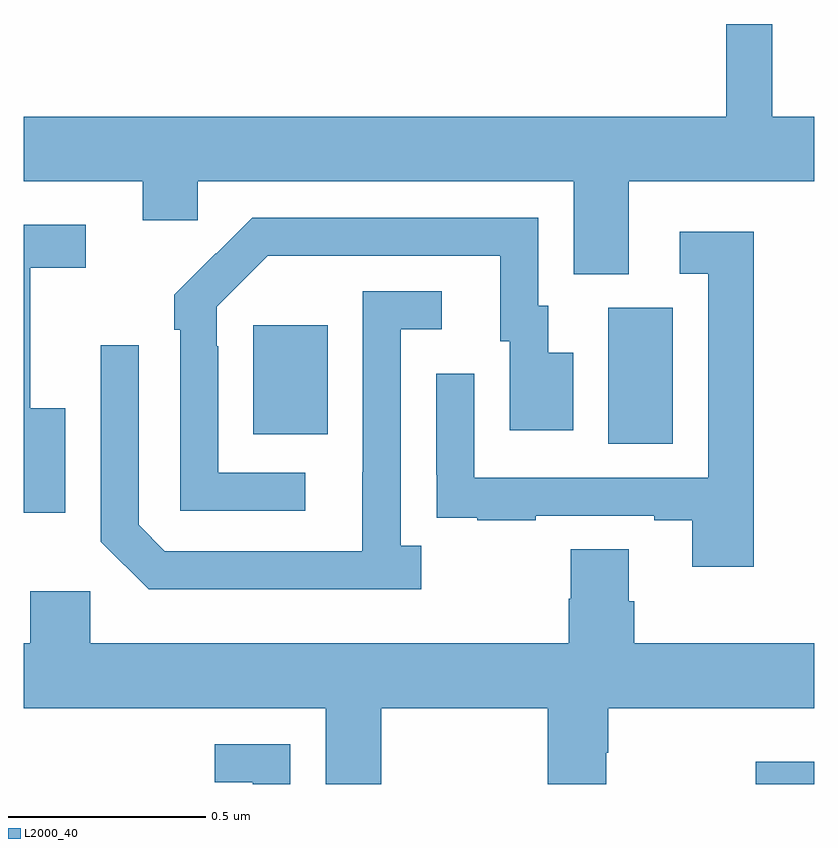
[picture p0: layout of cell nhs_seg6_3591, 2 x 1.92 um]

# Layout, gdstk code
import gdstk
lib = gdstk.Library(unit=1e-6, precision=1e-09)
def R(c, l, rs):  # rectangles x0, y0, x1, y1
    for r in rs: c.add(gdstk.rectangle(r[:2], r[2:], *l))
def P(c, l, *ps):  # polygons
    for p in ps: c.add(gdstk.Polygon(p, *l))
L2000_40 = (2000, 40)

nhs_seg6_3591 = lib.new_cell('nhs_seg6_3591')
R(nhs_seg6_3591, L2000_40, [(160.851,924.5,161,924.556), (160.478,925.36,160.642,925.704), (159.581,925.385,159.769,925.66)])
P(nhs_seg6_3591, L2000_40, [(160.531,926.024),(161,926.024),(161,926.188),(160.893,926.188),(160.893,926.422),(160.777,926.422),(160.777,926.188),(159,926.188),(159,926.024),(159.302,926.024),(159.302,925.926),(159.441,925.926),(159.441,926.024),(160.391,926.024),(160.391,925.789),(160.531,925.789)],
  [(159.712,925.287),(159.492,925.287),(159.492,925.607),(159.489,925.607),(159.489,925.707),(159.618,925.836),(160.205,925.836),(160.205,925.62),(160.229,925.62),(160.229,925.395),(160.39,925.395),(160.39,925.591),(160.327,925.591),(160.327,925.71),(160.302,925.71),(160.302,925.932),(159.578,925.932),(159.487,925.841),(159.486,925.842),(159.381,925.737),(159.381,925.649),(159.396,925.649),(159.396,925.191),(159.712,925.191)],
  [(159.106,925.45),(159.017,925.45),(159.017,925.806),(159.157,925.806),(159.157,925.914),(159,925.914),(159,925.186),(159.106,925.186)],
  [(160.847,925.897),(160.659,925.897),(160.659,925.791),(160.731,925.791),(160.731,925.275),(160.14,925.275),(160.14,925.537),(160.044,925.537),(160.044,925.282),(160.045,925.282),(160.045,925.173),(160.147,925.173),(160.147,925.167),(160.295,925.167),(160.295,925.179),(160.595,925.179),(160.595,925.167),(160.691,925.167),(160.691,925.05),(160.847,925.05)],
  [(160.006,925.102),(159.954,925.102),(159.954,925.65),(160.057,925.65),(160.057,925.746),(159.858,925.746),(159.858,925.289),(159.857,925.289),(159.857,925.089),(159.357,925.089),(159.291,925.155),(159.291,925.609),(159.195,925.609),(159.195,925.113),(159.316,924.992),(160.006,924.992)],
  [(159.904,924.692),(160.325,924.692),(160.325,924.5),(160.473,924.5),(160.473,924.579),(160.478,924.579),(160.478,924.692),(161,924.692),(161,924.856),(160.544,924.856),(160.544,924.962),(160.531,924.962),(160.531,925.094),(160.384,925.094),(160.384,924.969),(160.379,924.969),(160.379,924.856),(159.168,924.856),(159.168,924.988),(159.017,924.988),(159.017,924.856),(159,924.856),(159,924.692),(159.764,924.692),(159.764,924.5),(159.904,924.5)],
  [(159.675,924.6),(159.484,924.6),(159.484,924.505),(159.579,924.505),(159.579,924.5),(159.675,924.5)])

lib.write_gds('nhs_seg6_3591.gds')
